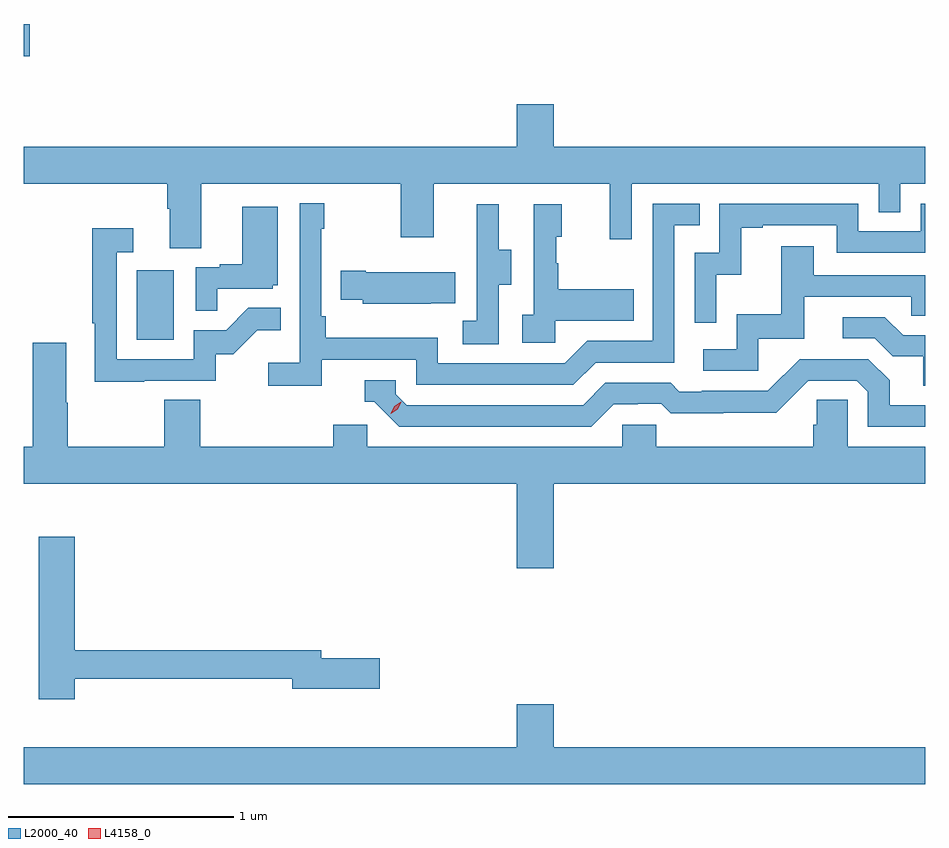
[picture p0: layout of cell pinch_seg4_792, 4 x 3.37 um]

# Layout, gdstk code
import gdstk
lib = gdstk.Library(unit=1e-6, precision=1e-09)
def R(c, l, rs):  # rectangles x0, y0, x1, y1
    for r in rs: c.add(gdstk.rectangle(r[:2], r[2:], *l))
def P(c, l, *ps):  # polygons
    for p in ps: c.add(gdstk.Polygon(p, *l))
L2000_40 = (2000, 40)
L4158_0 = (4158, 0)

pinch_seg4_792 = lib.new_cell('pinch_seg4_792')
R(pinch_seg4_792, L2000_40, [(822.662,816.108,822.826,816.415), (822.161,817.366,822.187,817.508)])
P(pinch_seg4_792, L2000_40, [(822.949,816.8),(823.834,816.8),(823.834,816.561),(823.981,816.561),(823.981,816.8),(824.762,816.8),(824.762,816.552),(824.859,816.552),(824.859,816.8),(825.954,816.8),(825.954,816.673),(826.05,816.673),(826.05,816.8),(826.161,816.8),(826.161,816.964),(824.512,816.964),(824.512,817.153),(824.348,817.153),(824.348,816.964),(822.161,816.964),(822.161,816.8),(822.797,816.8),(822.797,816.688),(822.809,816.688),(822.809,816.514),(822.949,816.514)],
  [(823.484,816.018),(823.902,816.018),(823.902,815.907),(824.599,815.907),(824.698,816.006),(825.048,816.006),(825.048,816.615),(825.161,816.615),(825.161,816.711),(824.952,816.711),(824.952,816.102),(824.661,816.102),(824.562,816.003),(823.998,816.003),(823.998,816.115),(823.502,816.115),(823.502,816.211),(823.482,816.211),(823.482,816.599),(823.495,816.599),(823.495,816.712),(823.386,816.712),(823.386,816.004),(823.245,816.004),(823.245,815.902),(823.484,815.902)],
  [(825.234,816.395),(825.344,816.395),(825.344,816.603),(825.439,816.603),(825.439,816.615),(825.768,816.615),(825.768,816.492),(826.161,816.492),(826.161,816.711),(826.14,816.711),(826.14,816.588),(825.864,816.588),(825.864,816.711),(825.246,816.711),(825.246,816.492),(825.138,816.492),(825.138,816.183),(825.234,816.183)],
  [(824.268,816.352),(824.323,816.352),(824.323,816.507),(824.269,816.507),(824.269,816.709),(824.171,816.709),(824.171,816.495),(824.172,816.495),(824.172,816.191),(824.109,816.191),(824.109,816.088),(824.268,816.088)],
  [(824.52,816.191),(824.867,816.191),(824.867,816.331),(824.533,816.331),(824.533,816.446),(824.523,816.446),(824.523,816.564),(824.548,816.564),(824.548,816.709),(824.424,816.709),(824.424,816.218),(824.373,816.218),(824.373,816.093),(824.52,816.093)],
  [(823.019,816.333),(823.266,816.333),(823.266,816.348),(823.288,816.348),(823.288,816.697),(823.13,816.697),(823.13,816.442),(823.031,816.442),(823.031,816.429),(822.924,816.429),(822.924,816.235),(823.019,816.235)],
  [(822.695,815.925),(823.014,815.925),(823.014,816.042),(823.09,816.042),(823.197,816.149),(823.301,816.149),(823.301,816.248),(823.157,816.248),(823.059,816.15),(822.915,816.15),(822.915,816.021),(822.573,816.021),(822.573,816.495),(822.646,816.495),(822.646,816.601),(822.465,816.601),(822.465,816.181),(822.477,816.181),(822.477,815.92),(822.695,815.92)],
  [(825.42,816.111),(825.625,816.111),(825.625,816.297),(826.099,816.297),(826.099,816.213),(826.161,816.213),(826.161,816.393),(825.667,816.393),(825.667,816.523),(825.523,816.523),(825.523,816.22),(825.324,816.22),(825.324,816.066),(825.177,816.066),(825.177,815.97),(825.42,815.97)],
  [(823.967,816.269),(824.075,816.269),(824.075,816.406),(823.678,816.406),(823.678,816.414),(823.567,816.414),(823.567,816.284),(823.665,816.284),(823.665,816.266),(823.967,816.266)],
  [(826.161,816.126),(826.063,816.126),(825.982,816.207),(825.795,816.207),(825.795,816.114),(825.936,816.114),(826.016,816.034),(826.151,816.034),(826.151,815.902),(826.161,815.902)],
  [(824.512,815.468),(826.161,815.468),(826.161,815.632),(825.816,815.632),(825.816,815.84),(825.679,815.84),(825.679,815.73),(825.665,815.73),(825.665,815.632),(824.967,815.632),(824.967,815.73),(824.817,815.73),(824.817,815.632),(823.686,815.632),(823.686,815.73),(823.535,815.73),(823.535,815.632),(822.944,815.632),(822.944,815.84),(822.784,815.84),(822.784,815.632),(822.357,815.632),(822.357,815.828),(822.349,815.828),(822.349,816.094),(822.202,816.094),(822.202,815.632),(822.161,815.632),(822.161,815.468),(824.348,815.468),(824.348,815.094),(824.512,815.094)],
  [(824.779,815.82),(824.886,815.82),(824.886,815.823),(824.989,815.823),(825.031,815.781),(825.264,815.781),(825.264,815.783),(825.5,815.783),(825.642,815.925),(825.858,815.925),(825.906,815.877),(825.906,815.721),(826.161,815.721),(826.161,815.817),(826.003,815.817),(826.003,815.927),(825.909,816.021),(825.603,816.021),(825.462,815.88),(825.169,815.88),(825.169,815.877),(825.07,815.877),(825.031,815.916),(824.742,815.916),(824.643,815.817),(823.86,815.817),(823.812,815.865),(823.812,815.928),(823.673,815.928),(823.673,815.832),(823.716,815.832),(823.827,815.721),(824.68,815.721)],
  [(822.388,814.602),(823.352,814.602),(823.352,814.559),(823.741,814.559),(823.741,814.694),(823.48,814.694),(823.48,814.73),(822.388,814.73),(822.388,815.233),(822.227,815.233),(822.227,814.512),(822.388,814.512)],
  [(826.161,814.3),(824.512,814.3),(824.512,814.489),(824.348,814.489),(824.348,814.3),(822.161,814.3),(822.161,814.136),(826.161,814.136)])
P(pinch_seg4_792, L4158_0, [(823.789,815.779),(823.789,815.779),(823.805,815.812),(823.836,815.831),(823.836,815.831),(823.836,815.83),(823.82,815.798),(823.789,815.779)])

lib.write_gds('pinch_seg4_792.gds')
